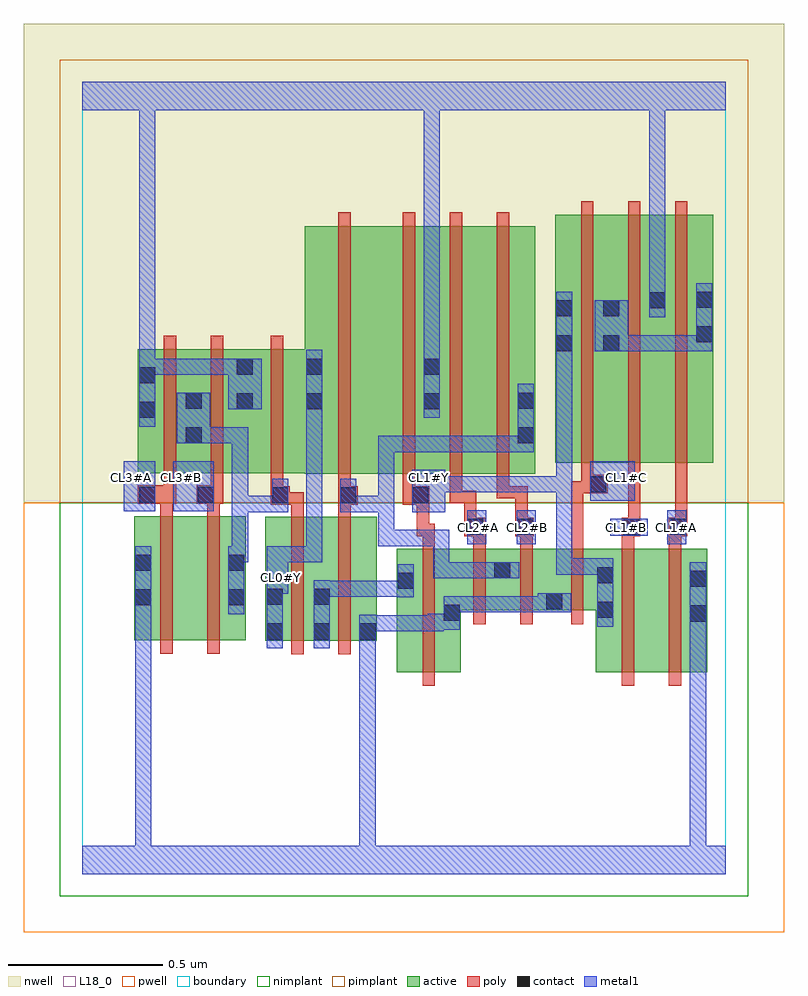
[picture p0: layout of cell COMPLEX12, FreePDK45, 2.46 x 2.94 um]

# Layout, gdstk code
import gdstk
lib = gdstk.Library(unit=1e-6, precision=1e-09)
def R(c, l, rs):  # rectangles x0, y0, x1, y1
    for r in rs: c.add(gdstk.rectangle(r[:2], r[2:], *l))
def A(c, l, x, y, w, h, nx, ny, dx, dy):  # array of equal rectangles
    R(c, l, [(x+i*dx, y+j*dy, x+i*dx+w, y+j*dy+h) for i in range(nx) for j in range(ny)])
active = (1, 0)
pwell = (2, 0)
nwell = (3, 0)
nimplant = (4, 0)
pimplant = (5, 0)
poly = (9, 0)
contact = (10, 0)
metal1 = (11, 0)
L18_0 = (18, 0)
boundary = (235, 0)

complex12 = lib.new_cell('COMPLEX12')
R(complex12, active, [(1.016,0.652,1.224,1.052), (1.66,0.652,1.84,1.052), (1.84,0.652,2.02,1.052), (1.164,0.676,1.224,0.998), (1.96,0.706,2.02,1.052), (1.66,0.738,1.72,0.996), (0.592,0.754,0.652,1.154), (0.592,0.754,0.804,1.154), (0.744,0.754,0.952,1.154), (0.744,0.754,0.804,1.01), (0.892,0.754,0.952,1.154), (0.168,0.756,0.348,1.156), (0.168,0.756,0.228,1.156), (0.348,0.756,0.528,1.156), (0.468,0.756,0.528,1.156), (1.016,0.756,1.076,1.052), (1.164,0.852,1.388,1.052), (1.328,0.852,1.556,1.052), (1.328,0.852,1.388,1.012), (1.496,0.852,1.72,1.052), (1.496,0.852,1.556,1.052), (0.72,1.294,0.98,2.094), (0.98,1.294,1.16,2.094), (1.1,1.294,1.284,2.094), (1.284,1.294,1.464,2.094), (1.404,1.294,1.464,2.044), (0.18,1.296,0.24,1.644), (0.18,1.296,0.39,1.696), (0.33,1.296,0.556,1.696), (0.33,1.296,0.39,1.644), (0.496,1.296,0.78,1.696), (1.528,1.33,1.74,2.13), (1.528,1.33,1.588,2.094), (1.68,1.33,1.888,2.13), (1.828,1.33,2.04,2.13), (1.98,1.33,2.04,2.13), (0.496,1.35,0.556,1.696), (0.72,1.35,0.78,1.75), (1.1,1.448,1.16,2.044), (1.68,1.47,1.74,2.128), (1.828,1.47,1.888,2.13)])
R(complex12, pwell, [(-0.188,-0.188,2.268,1.2)])
R(complex12, nwell, [(-0.188,1.2,2.268,2.748)])
R(complex12, nimplant, [(-0.072,-0.072,2.152,1.2)])
R(complex12, pimplant, [(-0.072,1.2,2.152,2.632)])
A(complex12, poly, 1.036, 1.25, 0.04, 0.888, 3, 1, 0.152, 0)
A(complex12, poly, 1.612, 1.286, 0.04, 0.888, 3, 1, 0.152, 0)
R(complex12, poly, [(1.1,0.608,1.14,1.096), (1.744,0.608,1.784,1.096), (1.896,0.608,1.936,1.096), (0.676,0.71,0.716,1.198), (0.828,0.71,0.868,1.198), (0.252,0.712,0.292,1.2), (0.404,0.712,0.444,1.2), (1.264,0.808,1.304,1.096), (1.416,0.808,1.456,1.096), (1.58,0.808,1.62,1.096), (1.1,1.056,1.14,1.132), (1.264,1.056,1.304,1.132), (1.416,1.056,1.456,1.132), (1.58,1.056,1.62,1.27), (1.744,1.056,1.784,1.132), (1.896,1.056,1.936,1.132), (1.082,1.092,1.122,1.234), (1.082,1.092,1.14,1.132), (1.234,1.092,1.304,1.152), (1.4,1.092,1.46,1.152), (1.744,1.092,1.804,1.152), (1.896,1.092,1.936,1.132), (1.896,1.092,1.936,1.132), (1.896,1.092,1.956,1.152), (1.234,1.112,1.274,1.238), (1.4,1.112,1.44,1.254), (1.764,1.112,1.804,1.326), (1.764,1.112,1.804,1.152), (1.764,1.112,1.804,1.152), (1.916,1.112,1.956,1.326), (0.676,1.158,0.716,1.234), (0.828,1.158,0.868,1.234), (0.252,1.16,0.292,1.236), (0.404,1.16,0.444,1.236), (0.61,1.194,0.67,1.254), (0.63,1.194,0.67,1.234), (0.63,1.194,0.716,1.234), (0.828,1.194,0.89,1.254), (1.036,1.194,1.122,1.254), (0.18,1.196,0.304,1.256), (0.252,1.196,0.292,1.236), (0.252,1.196,0.292,1.236), (0.37,1.196,0.456,1.256), (0.404,1.196,0.444,1.236), (0.404,1.196,0.444,1.236), (1.188,1.198,1.228,1.29), (1.188,1.198,1.274,1.238), (0.61,1.214,0.65,1.292), (0.828,1.214,0.868,1.254), (0.828,1.214,0.868,1.254), (0.828,1.214,0.868,1.29), (1.036,1.214,1.076,1.29), (1.34,1.214,1.38,1.29), (1.34,1.214,1.44,1.254), (0.264,1.216,0.304,1.292), (0.416,1.216,0.456,1.292), (1.58,1.23,1.652,1.27), (1.612,1.23,1.652,1.27), (1.612,1.23,1.698,1.29), (0.828,1.25,0.868,2.138), (1.612,1.25,1.652,1.326), (0.264,1.252,0.304,1.74), (0.416,1.252,0.456,1.74), (0.61,1.252,0.65,1.74)])
R(complex12, contact, [(0.596,0.758,0.648,0.81), (0.748,0.758,0.8,0.81), (0.896,0.758,0.948,0.81), (1.964,0.816,2.016,0.868), (1.168,0.818,1.22,0.87), (1.664,0.828,1.716,0.88), (1.5,0.856,1.552,0.908), (0.172,0.868,0.224,0.92), (0.472,0.868,0.524,0.92), (0.596,0.87,0.648,0.922), (0.748,0.87,0.8,0.922), (1.02,0.922,1.072,0.974), (1.964,0.928,2.016,0.98), (1.664,0.94,1.716,0.992), (1.332,0.956,1.384,1.008), (0.172,0.98,0.224,1.032), (0.472,0.98,0.524,1.032), (1.244,1.096,1.296,1.148), (1.404,1.096,1.456,1.148), (1.748,1.096,1.8,1.148), (1.9,1.096,1.952,1.148), (0.614,1.198,0.666,1.25), (0.834,1.198,0.886,1.25), (1.066,1.198,1.118,1.25), (0.184,1.2,0.236,1.252), (0.374,1.2,0.426,1.252), (1.642,1.234,1.694,1.286), (0.334,1.392,0.386,1.444), (1.408,1.392,1.46,1.444), (0.184,1.474,0.236,1.526), (0.5,1.502,0.552,1.554), (0.724,1.502,0.776,1.554), (1.104,1.502,1.156,1.554), (0.334,1.504,0.386,1.556), (1.408,1.504,1.46,1.556), (0.184,1.586,0.236,1.638), (0.5,1.614,0.552,1.666), (0.724,1.614,0.776,1.666), (1.104,1.614,1.156,1.666), (1.532,1.69,1.584,1.742), (1.684,1.69,1.736,1.742), (1.984,1.718,2.036,1.77), (1.532,1.802,1.584,1.854), (1.684,1.802,1.736,1.854), (1.832,1.828,1.884,1.88), (1.984,1.83,2.036,1.882)])
R(complex12, metal1, [(0,0,2.08,0.092), (0.172,0.04,0.224,0.092), (0.172,0.04,0.224,0.092), (0.172,0.04,0.224,0.092), (0.172,0.04,0.224,0.092), (0.172,0.04,0.224,0.092), (0.172,0.04,0.224,0.092), (0.172,0.04,0.224,0.092), (0.172,0.04,0.224,0.092), (0.172,0.04,0.224,0.092), (0.172,0.04,0.224,0.092), (0.172,0.04,0.224,0.892), (0.896,0.04,0.948,0.092), (0.896,0.04,0.948,0.092), (0.896,0.04,0.948,0.092), (0.896,0.04,0.948,0.092), (0.896,0.04,0.948,0.092), (0.896,0.04,0.948,0.092), (0.896,0.04,0.948,0.092), (0.896,0.04,0.948,0.092), (0.896,0.04,0.948,0.092), (0.896,0.04,0.948,0.092), (0.896,0.04,0.948,0.782), (1.964,0.04,2.016,0.092), (1.964,0.04,2.016,0.092), (1.964,0.04,2.016,0.092), (1.964,0.04,2.016,0.092), (1.964,0.04,2.016,0.092), (1.964,0.04,2.016,0.092), (1.964,0.04,2.016,0.092), (1.964,0.04,2.016,0.092), (1.964,0.04,2.016,0.84), (0.596,0.73,0.648,0.95), (0.748,0.73,0.8,0.95), (0.896,0.73,0.948,0.782), (0.896,0.73,0.948,0.782), (0.896,0.73,0.948,0.838), (0.896,0.784,0.996,0.836), (0.944,0.784,0.996,0.836), (0.944,0.784,1.168,0.836), (1.116,0.784,1.168,0.842), (1.964,0.788,2.016,0.84), (1.964,0.788,2.016,0.84), (1.964,0.788,2.016,0.84), (1.964,0.788,2.016,0.84), (1.964,0.788,2.016,1.008), (1.116,0.79,1.22,0.842), (1.168,0.79,1.22,0.898), (1.664,0.8,1.716,1.02), (0.172,0.84,0.224,0.892), (0.172,0.84,0.224,0.892), (0.172,0.84,0.224,1.06), (0.472,0.84,0.524,1.06), (1.168,0.846,1.33,0.898), (1.278,0.846,1.33,0.898), (1.278,0.846,1.33,0.898), (1.278,0.846,1.33,0.898), (1.278,0.846,1.33,0.898), (1.278,0.846,1.33,0.898), (1.278,0.846,1.33,0.898), (1.278,0.846,1.33,0.898), (1.278,0.846,1.46,0.898), (1.408,0.846,1.46,0.898), (1.408,0.846,1.524,0.898), (1.472,0.846,1.58,0.908), (1.02,0.894,1.072,1.002), (0.748,0.896,0.8,0.948), (0.748,0.896,0.8,0.948), (0.748,0.896,0.91,0.948), (0.858,0.896,0.91,0.948), (0.858,0.896,1.072,0.948), (0.596,0.898,0.648,0.958), (0.596,0.906,0.666,1.06), (1.134,0.956,1.186,1.008), (1.134,0.956,1.308,1.008), (1.134,0.956,1.186,1.112), (1.256,0.956,1.308,1.008), (1.256,0.956,1.356,1.008), (1.304,0.956,1.412,1.008), (1.532,0.968,1.584,1.02), (1.532,0.968,1.584,1.02), (1.532,0.968,1.584,1.02), (1.532,0.968,1.716,1.02), (1.532,0.968,1.584,1.286), (0.472,1.008,0.524,1.06), (0.472,1.008,0.536,1.06), (0.484,1.008,0.536,1.222), (0.614,1.008,0.666,1.06), (0.614,1.008,0.666,1.06), (0.614,1.008,0.776,1.06), (0.724,1.008,0.776,1.06), (0.724,1.008,0.776,1.06), (0.724,1.008,0.776,1.06), (0.724,1.008,0.776,1.526), (0.956,1.06,1.186,1.112), (0.956,1.06,1.008,1.222), (1.134,1.06,1.186,1.112), (1.134,1.06,1.186,1.112), (1.134,1.06,1.186,1.112), (1.244,1.066,1.306,1.176), (1.404,1.066,1.466,1.176), (1.89,1.066,1.952,1.176), (1.706,1.094,1.828,1.148), (0.484,1.17,0.536,1.222), (0.484,1.17,0.666,1.222), (0.484,1.17,0.536,1.444), (0.614,1.17,0.666,1.222), (0.614,1.17,0.666,1.222), (0.614,1.17,0.666,1.278), (0.834,1.17,0.886,1.278), (0.834,1.17,1.008,1.222), (0.956,1.17,1.008,1.222), (0.956,1.17,1.008,1.222), (0.956,1.17,1.008,1.416), (1.066,1.17,1.174,1.306), (0.134,1.172,0.236,1.334), (0.294,1.172,0.426,1.334), (1.642,1.206,1.786,1.334), (1.122,1.234,1.174,1.286), (1.122,1.234,1.174,1.286), (1.122,1.234,1.33,1.286), (1.278,1.234,1.33,1.286), (1.278,1.234,1.33,1.286), (1.278,1.234,1.33,1.286), (1.278,1.234,1.44,1.286), (1.388,1.234,1.44,1.286), (1.388,1.234,1.44,1.286), (1.388,1.234,1.44,1.286), (1.388,1.234,1.584,1.286), (1.532,1.234,1.584,1.286), (1.532,1.234,1.584,1.286), (1.532,1.234,1.584,1.286), (1.532,1.234,1.584,1.714), (0.956,1.364,1.008,1.416), (0.956,1.364,1.008,1.416), (0.956,1.364,1.008,1.416), (0.956,1.364,1.118,1.416), (1.066,1.364,1.118,1.416), (1.066,1.364,1.118,1.416), (1.066,1.364,1.118,1.416), (1.066,1.364,1.33,1.416), (1.278,1.364,1.33,1.416), (1.278,1.364,1.33,1.416), (1.278,1.364,1.33,1.416), (1.278,1.364,1.46,1.416), (1.408,1.364,1.46,1.416), (1.408,1.364,1.46,1.416), (1.408,1.364,1.46,1.584), (0.306,1.392,0.414,1.556), (0.362,1.392,0.414,1.444), (0.362,1.392,0.414,1.444), (0.362,1.392,0.536,1.444), (0.484,1.392,0.536,1.444), (0.184,1.446,0.236,1.666), (0.724,1.474,0.776,1.694), (1.104,1.474,1.156,1.694), (0.472,1.502,0.58,1.666), (0.184,1.614,0.236,1.666), (0.184,1.614,0.236,1.666), (0.184,1.614,0.414,1.666), (0.184,1.614,0.236,2.52), (0.362,1.614,0.414,1.666), (0.362,1.614,0.524,1.666), (0.472,1.614,0.524,1.666), (0.472,1.614,0.524,1.666), (1.104,1.642,1.156,1.694), (1.104,1.642,1.156,1.694), (1.104,1.642,1.156,1.694), (1.104,1.642,1.156,1.694), (1.104,1.642,1.156,2.52), (1.532,1.662,1.584,1.882), (1.656,1.69,1.764,1.854), (1.712,1.69,1.764,1.742), (1.712,1.69,1.764,1.742), (1.712,1.69,1.906,1.742), (1.854,1.69,1.906,1.742), (1.854,1.69,2.036,1.742), (1.984,1.69,2.036,1.742), (1.984,1.69,2.036,1.742), (1.984,1.69,2.036,1.91), (1.832,1.8,1.884,1.908), (1.832,1.856,1.884,1.908), (1.832,1.856,1.884,1.908), (1.832,1.856,1.884,1.908), (1.832,1.856,1.884,1.908), (1.832,1.856,1.884,1.908), (1.832,1.856,1.884,1.908), (1.832,1.856,1.884,2.52), (0,2.468,2.08,2.56), (0.184,2.468,0.236,2.52), (0.184,2.468,0.236,2.52), (0.184,2.468,0.236,2.52), (0.184,2.468,0.236,2.52), (0.184,2.468,0.236,2.52), (0.184,2.468,0.236,2.52), (0.184,2.468,0.236,2.52), (0.184,2.468,0.236,2.52), (0.184,2.468,0.236,2.52), (0.184,2.468,0.236,2.52), (0.184,2.468,0.236,2.52), (0.184,2.468,0.236,2.52), (0.184,2.468,0.236,2.52), (0.184,2.468,0.236,2.52), (0.184,2.468,0.236,2.52), (0.184,2.468,0.236,2.52), (1.104,2.468,1.156,2.52), (1.104,2.468,1.156,2.52), (1.104,2.468,1.156,2.52), (1.104,2.468,1.156,2.52), (1.832,2.468,1.884,2.52), (1.832,2.468,1.884,2.52)])
R(complex12, L18_0, [(0,0,2.08,0.092), (0.172,0.04,0.224,0.092), (0.172,0.04,0.224,0.092), (0.172,0.04,0.224,0.092), (0.172,0.04,0.224,0.092), (0.172,0.04,0.224,0.092), (0.172,0.04,0.224,0.092), (0.172,0.04,0.224,0.092), (0.172,0.04,0.224,0.092), (0.172,0.04,0.224,0.092), (0.172,0.04,0.224,0.092), (0.172,0.04,0.224,0.892), (0.896,0.04,0.948,0.092), (0.896,0.04,0.948,0.092), (0.896,0.04,0.948,0.092), (0.896,0.04,0.948,0.092), (0.896,0.04,0.948,0.092), (0.896,0.04,0.948,0.092), (0.896,0.04,0.948,0.092), (0.896,0.04,0.948,0.092), (0.896,0.04,0.948,0.092), (0.896,0.04,0.948,0.092), (0.896,0.04,0.948,0.782), (1.964,0.04,2.016,0.092), (1.964,0.04,2.016,0.092), (1.964,0.04,2.016,0.092), (1.964,0.04,2.016,0.092), (1.964,0.04,2.016,0.092), (1.964,0.04,2.016,0.092), (1.964,0.04,2.016,0.092), (1.964,0.04,2.016,0.092), (1.964,0.04,2.016,0.84), (0.596,0.73,0.648,0.95), (0.896,0.73,0.948,0.782), (0.896,0.73,0.948,0.782), (0.896,0.73,0.948,0.838), (0.896,0.784,0.996,0.836), (0.944,0.784,0.996,0.836), (0.944,0.784,1.168,0.836), (1.116,0.784,1.168,0.842), (1.964,0.788,2.016,0.84), (1.964,0.788,2.016,0.84), (1.964,0.788,2.016,0.84), (1.964,0.788,2.016,0.84), (1.964,0.788,2.016,1.008), (1.116,0.79,1.22,0.842), (1.168,0.79,1.22,0.898), (1.664,0.8,1.716,1.02), (0.172,0.84,0.224,0.892), (0.172,0.84,0.224,0.892), (0.172,0.84,0.224,1.06), (1.168,0.846,1.33,0.898), (1.278,0.846,1.33,0.898), (1.278,0.846,1.33,0.898), (1.278,0.846,1.33,0.898), (1.278,0.846,1.33,0.898), (1.278,0.846,1.33,0.898), (1.278,0.846,1.33,0.898), (1.278,0.846,1.33,0.898), (1.278,0.846,1.46,0.898), (1.408,0.846,1.46,0.898), (1.408,0.846,1.524,0.898), (1.472,0.846,1.58,0.908), (0.596,0.898,0.648,0.958), (0.596,0.906,0.666,1.06), (0.614,0.934,0.666,0.986), (1.532,0.968,1.584,1.02), (1.532,0.968,1.584,1.02), (1.532,0.968,1.584,1.02), (1.532,0.968,1.584,1.286), (1.532,0.968,1.716,1.02), (0.614,1.008,0.666,1.06), (0.614,1.008,0.666,1.06), (0.614,1.008,0.776,1.06), (0.724,1.008,0.776,1.06), (0.724,1.008,0.776,1.06), (0.724,1.008,0.776,1.06), (0.724,1.008,0.776,1.526), (1.244,1.066,1.306,1.176), (1.404,1.066,1.466,1.176), (1.89,1.066,1.952,1.176), (1.254,1.094,1.306,1.146), (1.414,1.094,1.466,1.146), (1.706,1.094,1.828,1.148), (1.734,1.094,1.786,1.146), (1.894,1.094,1.946,1.146), (1.066,1.17,1.174,1.306), (0.134,1.172,0.236,1.334), (0.294,1.172,0.426,1.334), (1.642,1.206,1.786,1.334), (1.122,1.234,1.174,1.286), (1.122,1.234,1.174,1.286), (1.122,1.234,1.33,1.286), (1.278,1.234,1.33,1.286), (1.278,1.234,1.33,1.286), (1.278,1.234,1.33,1.286), (1.278,1.234,1.44,1.286), (1.388,1.234,1.44,1.286), (1.388,1.234,1.44,1.286), (1.388,1.234,1.44,1.286), (1.388,1.234,1.584,1.286), (1.532,1.234,1.584,1.286), (1.532,1.234,1.584,1.286), (1.532,1.234,1.584,1.286), (1.532,1.234,1.584,1.714), (0.134,1.254,0.186,1.306), (0.294,1.254,0.346,1.306), (1.094,1.254,1.146,1.306), (1.734,1.254,1.786,1.306), (0.184,1.446,0.236,1.666), (0.724,1.474,0.776,1.694), (1.104,1.474,1.156,1.694), (0.472,1.502,0.58,1.666), (0.184,1.614,0.236,1.666), (0.184,1.614,0.236,1.666), (0.184,1.614,0.236,2.52), (0.184,1.614,0.414,1.666), (0.362,1.614,0.414,1.666), (0.362,1.614,0.524,1.666), (0.472,1.614,0.524,1.666), (0.472,1.614,0.524,1.666), (1.104,1.642,1.156,1.694), (1.104,1.642,1.156,1.694), (1.104,1.642,1.156,1.694), (1.104,1.642,1.156,1.694), (1.104,1.642,1.156,2.52), (1.532,1.662,1.584,1.882), (1.832,1.8,1.884,1.908), (1.832,1.856,1.884,1.908), (1.832,1.856,1.884,1.908), (1.832,1.856,1.884,1.908), (1.832,1.856,1.884,1.908), (1.832,1.856,1.884,1.908), (1.832,1.856,1.884,1.908), (1.832,1.856,1.884,2.52), (0,2.468,2.08,2.56), (0.184,2.468,0.236,2.52), (0.184,2.468,0.236,2.52), (0.184,2.468,0.236,2.52), (0.184,2.468,0.236,2.52), (0.184,2.468,0.236,2.52), (0.184,2.468,0.236,2.52), (0.184,2.468,0.236,2.52), (0.184,2.468,0.236,2.52), (0.184,2.468,0.236,2.52), (0.184,2.468,0.236,2.52), (0.184,2.468,0.236,2.52), (0.184,2.468,0.236,2.52), (0.184,2.468,0.236,2.52), (0.184,2.468,0.236,2.52), (0.184,2.468,0.236,2.52), (0.184,2.468,0.236,2.52), (1.104,2.468,1.156,2.52), (1.104,2.468,1.156,2.52), (1.104,2.468,1.156,2.52), (1.104,2.468,1.156,2.52), (1.832,2.468,1.884,2.52), (1.832,2.468,1.884,2.52)])
R(complex12, boundary, [(0,0,2.08,2.56)])
complex12.add(gdstk.Label('CL0#Y', (0.64,0.96), layer=11, texttype=0))
complex12.add(gdstk.Label('CL1#A', (1.92,1.12), layer=11, texttype=0))
complex12.add(gdstk.Label('CL1#B', (1.76,1.12), layer=11, texttype=0))
complex12.add(gdstk.Label('CL1#C', (1.76,1.28), layer=11, texttype=0))
complex12.add(gdstk.Label('CL1#Y', (1.12,1.28), layer=11, texttype=0))
complex12.add(gdstk.Label('CL2#A', (1.28,1.12), layer=11, texttype=0))
complex12.add(gdstk.Label('CL2#B', (1.44,1.12), layer=11, texttype=0))
complex12.add(gdstk.Label('CL3#A', (0.16,1.28), layer=11, texttype=0))
complex12.add(gdstk.Label('CL3#B', (0.32,1.28), layer=11, texttype=0))

lib.write_gds('COMPLEX12.gds')
